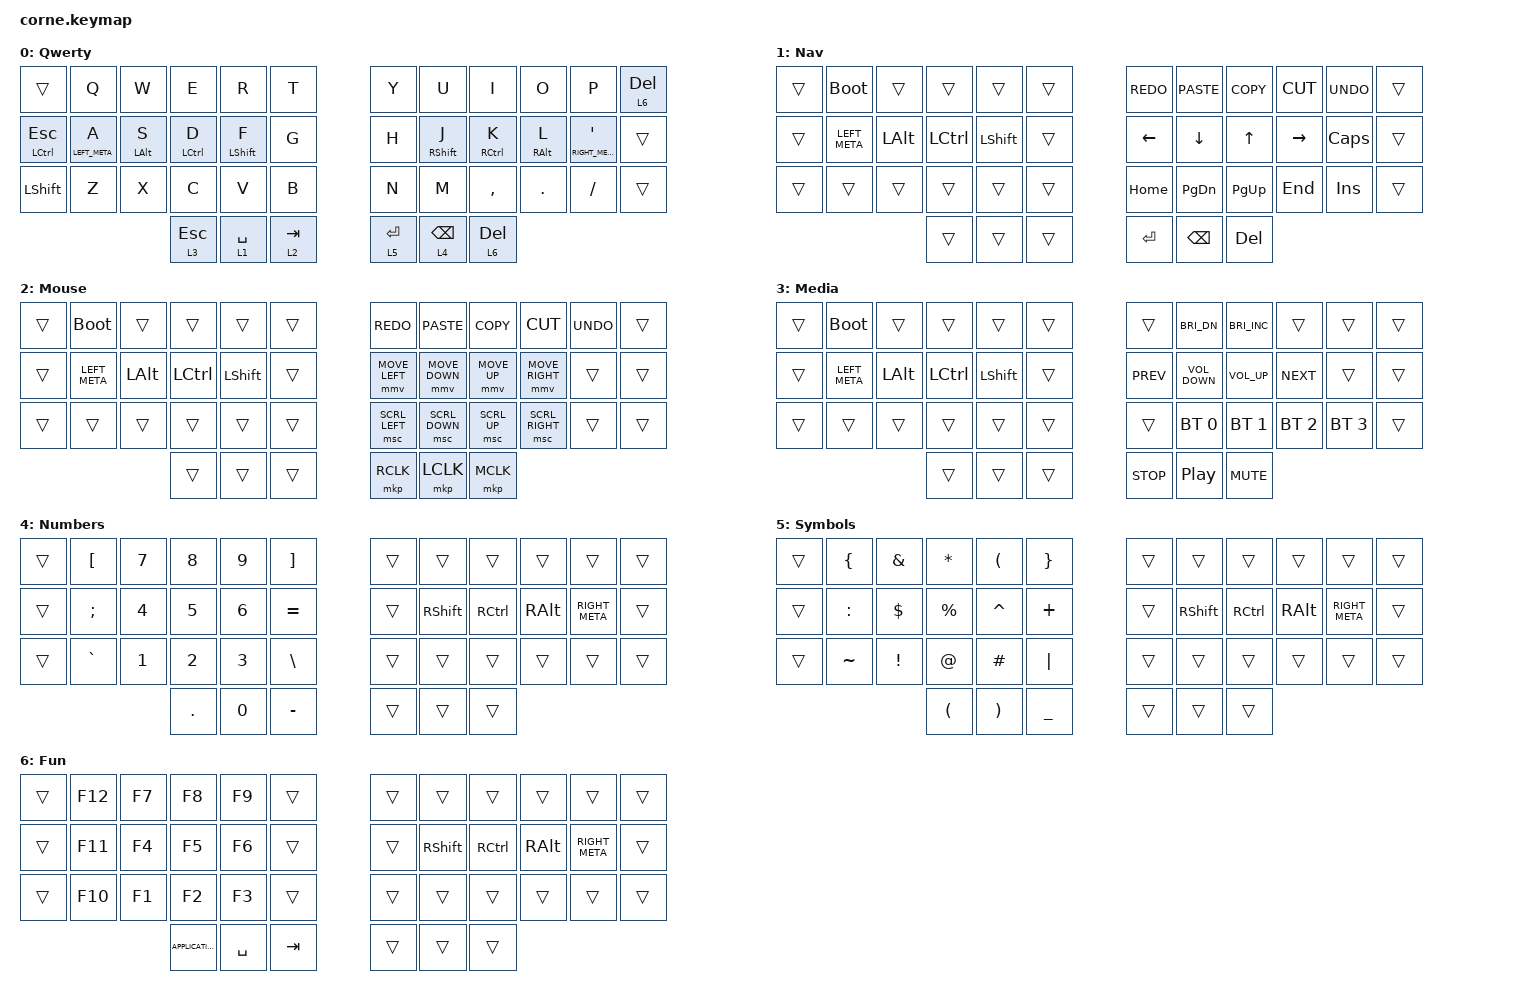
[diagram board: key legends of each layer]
#define ZMK_POINTING_DEFAULT_MOVE_VAL 3000
#define ZMK_POINTING_DEFAULT_SCRL_VAL 25

#include <behaviors.dtsi>
#include <dt-bindings/zmk/bt.h>
#include <dt-bindings/zmk/keys.h>
#include <dt-bindings/zmk/pointing.h>

&mt {
    flavor = "balanced";
    quick-tap-ms = <200>;
    require-prior-idle-ms = <150>;
};

/ {
    keymap {
        compatible = "zmk,keymap";

        Qwerty {
            bindings = <
&trans                   &kp Q            &kp W           &kp E               &kp R             &kp T        &kp Y        &kp U              &kp I                &kp O            &kp P                &lt 6 DELETE
&mt LEFT_CONTROL ESCAPE  &mt LEFT_META A  &mt LEFT_ALT S  &mt LEFT_CONTROL D  &mt LEFT_SHIFT F  &kp G        &kp H        &mt RIGHT_SHIFT J  &mt RIGHT_CONTROL K  &mt RIGHT_ALT L  &mt RIGHT_META APOS  &trans
&kp LEFT_SHIFT           &kp Z            &kp X           &kp C               &kp V             &kp B        &kp N        &kp M              &kp COMMA            &kp DOT          &kp SLASH            &trans
                                                          &lt 3 ESCAPE        &lt 1 SPACE       &lt 2 TAB    &lt 5 ENTER  &lt 4 BACKSPACE    &lt 6 DELETE
            >;
        };

        Nav {
            bindings = <
&trans  &bootloader    &trans        &trans            &trans          &trans    &kp K_REDO  &kp K_PASTE     &kp K_COPY    &kp K_CUT  &kp K_UNDO    &trans
&trans  &kp LEFT_META  &kp LEFT_ALT  &kp LEFT_CONTROL  &kp LEFT_SHIFT  &trans    &kp LEFT    &kp DOWN_ARROW  &kp UP_ARROW  &kp RIGHT  &kp CAPSLOCK  &trans
&trans  &trans         &trans        &trans            &trans          &trans    &kp HOME    &kp PG_DN       &kp PG_UP     &kp END    &kp INSERT    &trans
                                     &trans            &trans          &trans    &kp ENTER   &kp BACKSPACE   &kp DELETE
            >;
        };

        Mouse {
            bindings = <
&trans  &bootloader    &trans        &trans            &trans          &trans    &kp K_REDO      &kp K_PASTE     &kp K_COPY    &kp K_CUT        &kp K_UNDO  &trans
&trans  &kp LEFT_META  &kp LEFT_ALT  &kp LEFT_CONTROL  &kp LEFT_SHIFT  &trans    &mmv MOVE_LEFT  &mmv MOVE_DOWN  &mmv MOVE_UP  &mmv MOVE_RIGHT  &trans      &trans
&trans  &trans         &trans        &trans            &trans          &trans    &msc SCRL_LEFT  &msc SCRL_DOWN  &msc SCRL_UP  &msc SCRL_RIGHT  &trans      &trans
                                     &trans            &trans          &trans    &mkp RCLK       &mkp LCLK       &mkp MCLK
            >;
        };

        Media {
            bindings = <
&trans  &bootloader    &trans        &trans            &trans          &trans    &trans      &kp C_BRI_DN       &kp C_BRI_INC    &trans        &trans        &trans
&trans  &kp LEFT_META  &kp LEFT_ALT  &kp LEFT_CONTROL  &kp LEFT_SHIFT  &trans    &kp C_PREV  &kp C_VOLUME_DOWN  &kp C_VOLUME_UP  &kp C_NEXT    &trans        &trans
&trans  &trans         &trans        &trans            &trans          &trans    &trans      &bt BT_SEL 0       &bt BT_SEL 1     &bt BT_SEL 2  &bt BT_SEL 3  &trans
                                     &trans            &trans          &trans    &kp C_STOP  &kp C_PP           &kp C_MUTE
            >;
        };

        Numbers {
            bindings = <
&trans  &kp LEFT_BRACKET  &kp NUMBER_7  &kp NUMBER_8  &kp NUMBER_9  &kp RIGHT_BRACKET    &trans  &trans           &trans             &trans         &trans          &trans
&trans  &kp SEMICOLON     &kp NUMBER_4  &kp NUMBER_5  &kp NUMBER_6  &kp EQUAL            &trans  &kp RIGHT_SHIFT  &kp RIGHT_CONTROL  &kp RIGHT_ALT  &kp RIGHT_META  &trans
&trans  &kp GRAVE         &kp NUMBER_1  &kp NUMBER_2  &kp NUMBER_3  &kp BACKSLASH        &trans  &trans           &trans             &trans         &trans          &trans
                                        &kp PERIOD    &kp NUMBER_0  &kp MINUS            &trans  &trans           &trans
            >;
        };

        Symbols {
            bindings = <
&trans  &kp LEFT_BRACE  &kp AMPERSAND    &kp ASTERISK          &kp LEFT_PARENTHESIS   &kp RIGHT_BRACE    &trans  &trans           &trans             &trans         &trans          &trans
&trans  &kp COLON       &kp DOLLAR       &kp PERCENT           &kp CARET              &kp PLUS           &trans  &kp RIGHT_SHIFT  &kp RIGHT_CONTROL  &kp RIGHT_ALT  &kp RIGHT_META  &trans
&trans  &kp TILDE       &kp EXCLAMATION  &kp AT_SIGN           &kp HASH               &kp PIPE           &trans  &trans           &trans             &trans         &trans          &trans
                                         &kp LEFT_PARENTHESIS  &kp RIGHT_PARENTHESIS  &kp UNDERSCORE     &trans  &trans           &trans
            >;
        };

        Fun {
            bindings = <
&trans  &kp F12  &kp F7  &kp F8             &kp F9     &trans     &trans  &trans           &trans             &trans         &trans          &trans
&trans  &kp F11  &kp F4  &kp F5             &kp F6     &trans     &trans  &kp RIGHT_SHIFT  &kp RIGHT_CONTROL  &kp RIGHT_ALT  &kp RIGHT_META  &trans
&trans  &kp F10  &kp F1  &kp F2             &kp F3     &trans     &trans  &trans           &trans             &trans         &trans          &trans
                         &kp K_APPLICATION  &kp SPACE  &kp TAB    &trans  &trans           &trans
            >;
        };
    };
};
